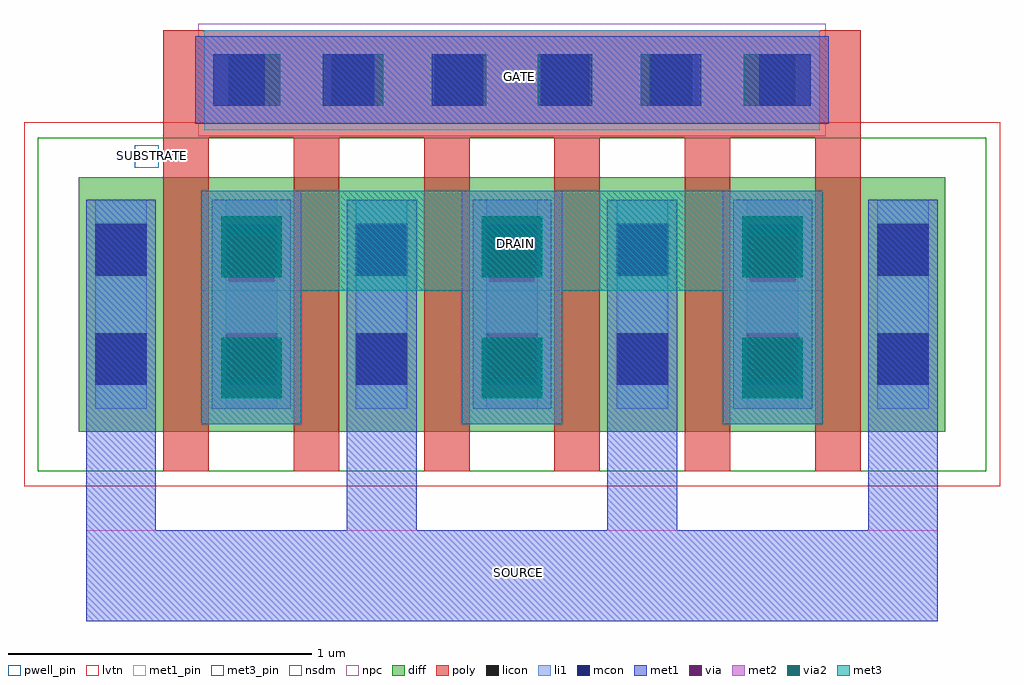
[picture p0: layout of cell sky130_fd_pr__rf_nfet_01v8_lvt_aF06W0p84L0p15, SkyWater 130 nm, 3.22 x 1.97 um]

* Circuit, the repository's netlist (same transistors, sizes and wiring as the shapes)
* Copyright 2020 The SkyWater PDK Authors
*
* Licensed under the Apache License, Version 2.0 (the "License");
* you may not use this file except in compliance with the License.
* You may obtain a copy of the License at
*
*     https://www.apache.org/licenses/LICENSE-2.0
*
* Unless required by applicable law or agreed to in writing, software
* distributed under the License is distributed on an "AS IS" BASIS,
* WITHOUT WARRANTIES OR CONDITIONS OF ANY KIND, either express or implied.
* See the License for the specific language governing permissions and
* limitations under the License.
*
* SPDX-License-Identifier: Apache-2.0


.subckt sky130_fd_pr__rf_nfet_01v8_lvt_aF06W0p84L0p15 DRAIN GATE SOURCE SUBSTRATE
X0 SOURCE GATE DRAIN SUBSTRATE sky130_fd_pr__nfet_01v8_lvt w=840000u l=150000u
X1 DRAIN GATE SOURCE SUBSTRATE sky130_fd_pr__nfet_01v8_lvt w=840000u l=150000u
X2 DRAIN GATE SOURCE SUBSTRATE sky130_fd_pr__nfet_01v8_lvt w=840000u l=150000u
X3 DRAIN GATE SOURCE SUBSTRATE sky130_fd_pr__nfet_01v8_lvt w=840000u l=150000u
X4 SOURCE GATE DRAIN SUBSTRATE sky130_fd_pr__nfet_01v8_lvt w=840000u l=150000u
X5 SOURCE GATE DRAIN SUBSTRATE sky130_fd_pr__nfet_01v8_lvt w=840000u l=150000u
.ends

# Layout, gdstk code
import gdstk
lib = gdstk.Library(unit=1e-6, precision=1e-09)
def R(c, l, rs):  # rectangles x0, y0, x1, y1
    for r in rs: c.add(gdstk.rectangle(r[:2], r[2:], *l))
def A(c, l, x, y, w, h, nx, ny, dx, dy):  # array of equal rectangles
    R(c, l, [(x+i*dx, y+j*dy, x+i*dx+w, y+j*dy+h) for i in range(nx) for j in range(ny)])
diff = (65, 20)
poly = (66, 20)
licon = (66, 44)
li1 = (67, 20)
mcon = (67, 44)
met1_pin = (68, 16)
met1 = (68, 20)
via = (68, 44)
met2 = (69, 20)
via2 = (69, 44)
met3_pin = (70, 16)
met3 = (70, 20)
nsdm = (93, 44)
npc = (95, 20)
pwell_pin = (122, 16)
lvtn = (125, 44)

sky130_fd_pr__rf_nfet_01 = lib.new_cell('sky130_fd_pr__rf_nfet_01v8_lvt_aF06W0p84L0p15')
A(sky130_fd_pr__rf_nfet_01, diff, 0.18, 0.18, 0.28, 0.84, 3, 1, 0.43, 0)
A(sky130_fd_pr__rf_nfet_01, diff, 0.21, 0.18, 0.25, 0.84, 4, 1, 0.86, 0)
A(sky130_fd_pr__rf_nfet_01, diff, 0.46, 0.18, 0.15, 0.84, 6, 1, 0.43, 0)
A(sky130_fd_pr__rf_nfet_01, diff, 1.04, 0.18, 0.28, 0.84, 3, 1, 0.43, 0)
A(sky130_fd_pr__rf_nfet_01, diff, 1.9, 0.18, 0.28, 0.84, 3, 1, 0.43, 0)
R(sky130_fd_pr__rf_nfet_01, diff, [(2.76,0.18,3.04,1.02)])
A(sky130_fd_pr__rf_nfet_01, poly, 0.46, 0.05, 0.15, 1.1, 6, 1, 0.43, 0)
A(sky130_fd_pr__rf_nfet_01, poly, 0.46, 0.05, 0.15, 0.13, 6, 2, 0.43, 0.97)
R(sky130_fd_pr__rf_nfet_01, poly, [(0.46,1.15,2.76,1.505), (0.595,1.175,2.625,1.505)])
A(sky130_fd_pr__rf_nfet_01, licon, 0.235, 0.335, 0.17, 0.17, 7, 2, 0.43, 0.36)
A(sky130_fd_pr__rf_nfet_01, licon, 0.675, 1.255, 0.17, 0.17, 6, 1, 0.34, 0)
A(sky130_fd_pr__rf_nfet_01, li1, 0.235, 0.255, 0.17, 0.69, 7, 1, 0.43, 0)
R(sky130_fd_pr__rf_nfet_01, li1, [(0.595,1.175,2.625,1.505), (0.625,1.255,2.595,1.425)])
A(sky130_fd_pr__rf_nfet_01, mcon, 0.235, 0.335, 0.17, 0.17, 7, 2, 0.43, 0.36)
A(sky130_fd_pr__rf_nfet_01, mcon, 0.625, 1.255, 0.17, 0.17, 6, 1, 0.36, 0)
R(sky130_fd_pr__rf_nfet_01, met1_pin, [(0.205,-0.445,3.015,-0.145), (0.565,1.195,2.655,1.485)])
R(sky130_fd_pr__rf_nfet_01, met1, [(0.565,1.195,2.655,1.485)])
A(sky130_fd_pr__rf_nfet_01, via, 0.675, 0.355, 0.15, 0.15, 3, 2, 0.86, 0.32)
A(sky130_fd_pr__rf_nfet_01, met2, 0.585, 0.205, 0.33, 0.77, 3, 1, 0.86, 0)
A(sky130_fd_pr__rf_nfet_01, met2, 0.62, 0.27, 0.26, 0.64, 3, 1, 0.86, 0)
A(sky130_fd_pr__rf_nfet_01, via2, 0.65, 0.29, 0.2, 0.2, 3, 2, 0.86, 0.4)
R(sky130_fd_pr__rf_nfet_01, met3_pin, [(0.585,0.645,2.635,0.975)])
A(sky130_fd_pr__rf_nfet_01, met3, 0.585, 0.205, 0.33, 0.77, 3, 1, 0.86, 0)
A(sky130_fd_pr__rf_nfet_01, nsdm, 0.21, 0.05, 0.4, 1.1, 6, 1, 0.43, 0)
A(sky130_fd_pr__rf_nfet_01, nsdm, 0.48, 0.05, 0.54, 1.1, 5, 1, 0.43, 0)
R(sky130_fd_pr__rf_nfet_01, nsdm, [(0.045,0.05,0.59,1.15), (2.63,0.05,3.175,1.15)])
R(sky130_fd_pr__rf_nfet_01, npc, [(0.575,1.155,2.645,1.525)])
R(sky130_fd_pr__rf_nfet_01, pwell_pin, [(0.365,1.05,0.445,1.125)])
R(sky130_fd_pr__rf_nfet_01, lvtn, [(0,0,3.22,1.2)])
sky130_fd_pr__rf_nfet_01.add(gdstk.FlexPath([(0.585,0.81),(2.635,0.81)], 0.33, ends="flush", simple_path=True, layer=70, datatype=20))  # met3
sky130_fd_pr__rf_nfet_01.add(gdstk.FlexPath([(2.9,0.945),(2.9,-0.445)], 0.23, ends="flush", simple_path=True, layer=68, datatype=20))  # met1
sky130_fd_pr__rf_nfet_01.add(gdstk.FlexPath([(2.04,0.945),(2.04,-0.445)], 0.23, ends="flush", simple_path=True, layer=68, datatype=20))  # met1
sky130_fd_pr__rf_nfet_01.add(gdstk.FlexPath([(0.205,-0.295),(3.015,-0.295)], 0.3, ends="flush", simple_path=True, layer=68, datatype=20))  # met1
sky130_fd_pr__rf_nfet_01.add(gdstk.FlexPath([(1.18,0.945),(1.18,-0.445)], 0.23, ends="flush", simple_path=True, layer=68, datatype=20))  # met1
sky130_fd_pr__rf_nfet_01.add(gdstk.FlexPath([(2.47,0.945),(2.47,0.255)], 0.26, ends="flush", simple_path=True, layer=68, datatype=20))  # met1
sky130_fd_pr__rf_nfet_01.add(gdstk.FlexPath([(1.61,0.945),(1.61,0.255)], 0.26, ends="flush", simple_path=True, layer=68, datatype=20))  # met1
sky130_fd_pr__rf_nfet_01.add(gdstk.FlexPath([(0.75,0.945),(0.75,0.255)], 0.26, ends="flush", simple_path=True, layer=68, datatype=20))  # met1
sky130_fd_pr__rf_nfet_01.add(gdstk.FlexPath([(0.32,0.945),(0.32,-0.445)], 0.23, ends="flush", simple_path=True, layer=68, datatype=20))  # met1
sky130_fd_pr__rf_nfet_01.add(gdstk.Label('DRAIN', (1.62,0.8), layer=70, texttype=16))
sky130_fd_pr__rf_nfet_01.add(gdstk.Label('SOURCE', (1.63,-0.285), layer=68, texttype=16))
sky130_fd_pr__rf_nfet_01.add(gdstk.Label('GATE', (1.635,1.35), layer=68, texttype=16))
sky130_fd_pr__rf_nfet_01.add(gdstk.Label('SUBSTRATE', (0.425,1.09), layer=64, texttype=59))

lib.write_gds('sky130_fd_pr__rf_nfet_01v8_lvt_aF06W0p84L0p15.gds')
